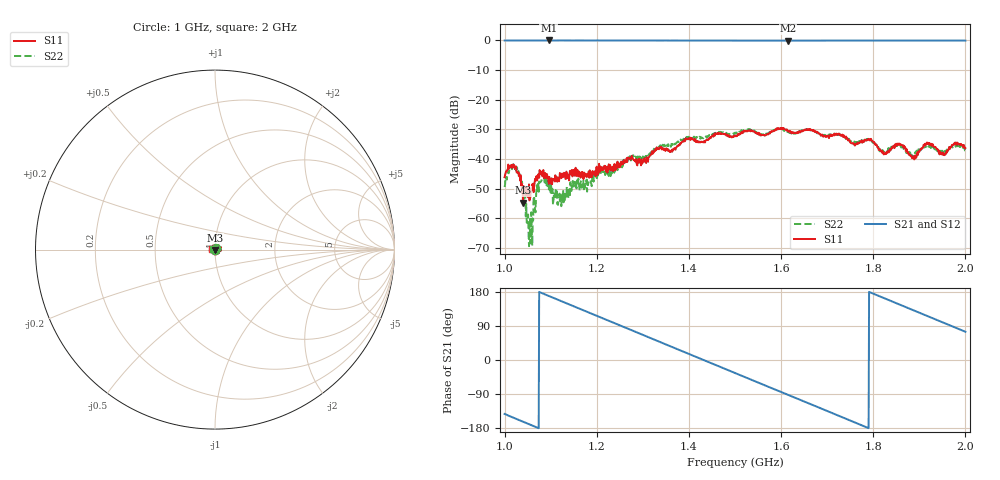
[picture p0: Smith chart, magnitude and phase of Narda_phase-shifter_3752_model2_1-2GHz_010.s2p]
#  HZ  S  DB  R  50.00
! Rohde & Schwarz Vector Network Analyzer
! Rohde-Schwarz,ZNB8-4Port,1311601044102961,2.82
! Created: UTC 1/17/2019, 2:53:58 PM
! freq[Hz]  db:S11  ang:S11  db:S21  ang:S21  db:S12  ang:S12  db:S22  ang:S22
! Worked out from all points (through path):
!   1001 points, 1 GHz to 2 GHz, reference 50 ohm
!   highest |S21| = -0.03 dB at 1.096 GHz (marker M1); lowest = -0.1 dB at 1.615 GHz (marker M2)
!   group delay of S21, straight-line fit = 1.4 ns
!   lowest |S11| = -54.7 dB at 1.04 GHz (marker M3), VSWR 1.00, Z = 50 - j0.182 ohm
!   |S11| at or under -10 dB: start of sweep to end of sweep
!   |S22| runs from -69.4 to -29.7 dB; largest |S21 - S12| = 0.011
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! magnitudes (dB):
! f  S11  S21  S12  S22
! 1 GHz  -46.2  0.0  -0.1  -49.5
! 1.022 GHz  -43.3  0.0  -0.1  -43.0
! 1.04 GHz  -54.7  0.0  -0.1  -50.6
! 1.051 GHz  -52.9  0.0  -0.1  -58.7
! 1.057 GHz  -50.1  0.0  -0.1  -63.3
! 1.074 GHz  -45.7  0.0  -0.1  -51.1
! 1.085 GHz  -45.3  0.0  -0.1  -46.5
! 1.096 GHz  -48.3  0.0  -0.1  -50.3
! 1.119 GHz  -46.4  0.0  -0.1  -51.7
! 1.167 GHz  -44.5  0.0  -0.1  -49.7
! 1.301 GHz  -40.9  0.0  0.0  -40.0
! 1.334 GHz  -36.5  -0.1  -0.1  -35.7
! 1.5 GHz  -32.1  -0.1  -0.1  -31.1
! 1.615 GHz  -30.5  -0.1  -0.1  -30.9
! 1.667 GHz  -30.4  -0.1  -0.1  -30.4
! 1.834 GHz  -37.7  -0.1  -0.1  -37.4
! 1.86 GHz  -35.4  -0.1  -0.1  -35.9
! 1.889 GHz  -40.1  -0.1  -0.1  -38.5
! 1.917 GHz  -34.4  -0.1  -0.1  -35.5
! 1.951 GHz  -37.8  -0.1  -0.1  -37.4
! 1.976 GHz  -34.9  -0.1  -0.1  -35.7
! 2 GHz  -36.3  -0.1  -0.1  -37.1
